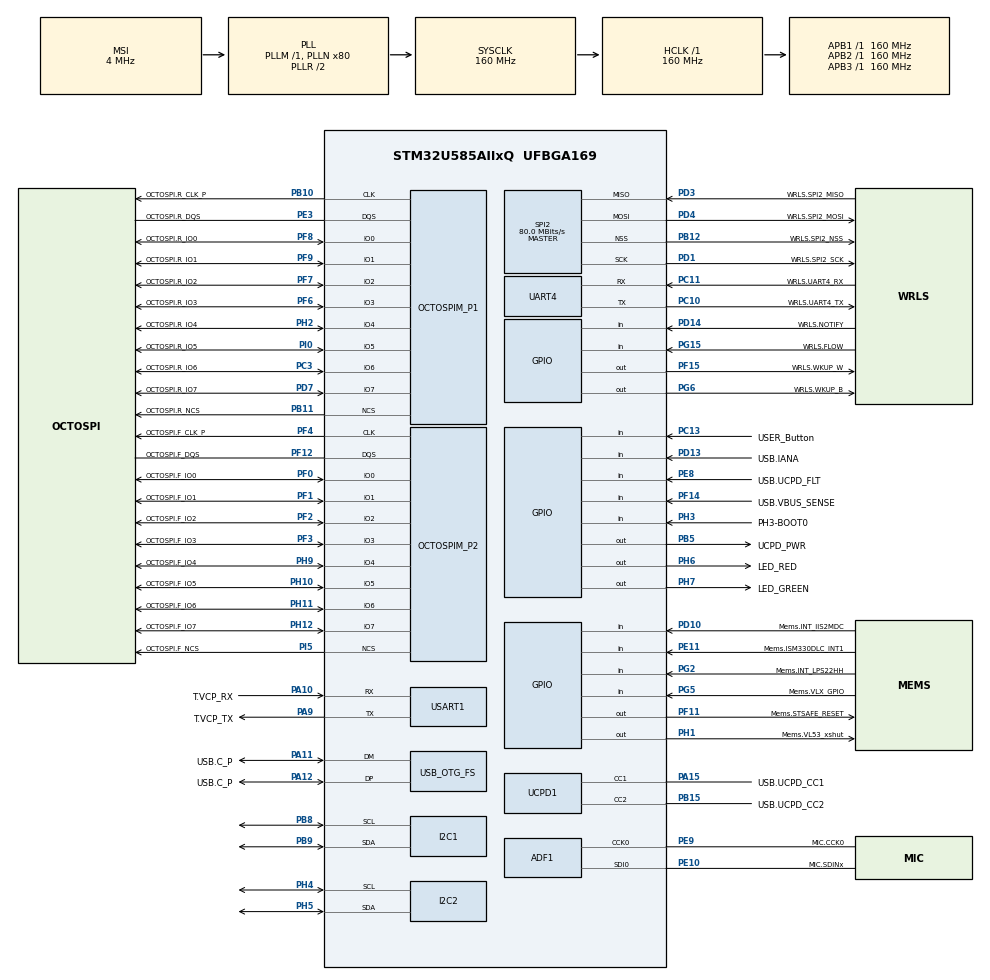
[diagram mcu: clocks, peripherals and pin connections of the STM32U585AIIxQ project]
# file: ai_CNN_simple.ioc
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CORTEX_M33_NS.userName=CORTEX_M33
I2C1.Timing=0x30909DEC
I2C2.Timing=0x30909DEC
Mcu.Family=STM32U5
Mcu.Name=STM32U585AIIxQ
Mcu.Package=UFBGA169
NVIC.PriorityGroup=NVIC_PRIORITYGROUP_4
OCTOSPI1.ChipSelectBoundary=10
OCTOSPI1.ClockPrescaler=2
OCTOSPI1.DelayBlockBypass=HAL_OSPI_DELAY_BLOCK_USED
OCTOSPI1.DelayHoldQuarterCycle=HAL_OSPI_DHQC_ENABLE
OCTOSPI1.DeviceSize=23
OCTOSPI1.MemoryType=HAL_OSPI_MEMTYPE_APMEMORY
OCTOSPI1.Refresh=100
OCTOSPI2.ChipSelectBoundary=0
OCTOSPI2.ChipSelectHighTime=2
OCTOSPI2.ClockPrescaler=4
OCTOSPI2.DelayBlockBypass=HAL_OSPI_DELAY_BLOCK_USED
OCTOSPI2.DelayHoldQuarterCycle=HAL_OSPI_DHQC_ENABLE
OCTOSPI2.DeviceSize=26
OCTOSPI2.FifoThreshold=4
OCTOSPI2.MemoryType=HAL_OSPI_MEMTYPE_MACRONIX
PA10.GPIO_Label=T.VCP_RX
PA10.Mode=Asynchronous
PA10.Signal=USART1_RX
PA11.GPIO_Label=USB.C_P
PA11.Mode=Device_Only
PA11.Signal=USB_OTG_FS_DM
PA12.GPIO_Label=USB.C_P
PA12.Mode=Device_Only
PA12.Signal=USB_OTG_FS_DP
PA13\ (JTMS/SWDIO).GPIO_Label=T.SWDIO
PA13\ (JTMS/SWDIO).Mode=Trace_Asynchronous_SW
PA13\ (JTMS/SWDIO).Signal=DEBUG_JTMS-SWDIO
PA14\ (JTCK/SWCLK).GPIO_Label=T.SWCLK
PA14\ (JTCK/SWCLK).Mode=Trace_Asynchronous_SW
PA14\ (JTCK/SWCLK).Signal=DEBUG_JTCK-SWCLK
PA15\ (JTDI).GPIO_Label=USB.UCPD_CC1
PA15\ (JTDI).Mode=Dual_Role_AllSignals
PA15\ (JTDI).Signal=UCPD1_CC1
PA9.GPIO_Label=T.VCP_TX
PA9.Mode=Asynchronous
PA9.Signal=USART1_TX
PB1.GPIO_Label=MIC.SDIN0
PB1.Signal=MDF1_SDI0
PB10.GPIO_Label=OCTOSPI.R_CLK_P
PB10.Mode=O1_P1_CLK
PB10.Signal=OCTOSPIM_P1_CLK
PB11.GPIO_Label=OCTOSPI.R_NCS
PB11.Mode=OCTOSPI1_Port1_NCS
PB11.Signal=OCTOSPIM_P1_NCS
PB12.GPIO_Label=WRLS.SPI2_NSS
PB12.Mode=NSS_Signal_Hard_Output
PB12.Signal=SPI2_NSS
PB15.GPIO_Label=USB.UCPD_CC2
PB15.Mode=Dual_Role_AllSignals
PB15.Signal=UCPD1_CC2
PB3\ (JTDO/TRACESWO).GPIO_Label=T.SWO
PB3\ (JTDO/TRACESWO).Mode=Trace_Asynchronous_SW
PB3\ (JTDO/TRACESWO).Signal=DEBUG_JTDO-SWO
PB5.GPIO_Label=UCPD_PWR
PB5.Signal=GPIO_Output
PB8.Mode=I2C
PB8.Signal=I2C1_SCL
PB9.Mode=I2C
PB9.Signal=I2C1_SDA
PC10.GPIO_Label=WRLS.UART4_TX
PC10.Mode=Asynchronous
PC10.Signal=UART4_TX
PC11.GPIO_Label=WRLS.UART4_RX
PC11.Mode=Asynchronous
PC11.Signal=UART4_RX
PC13.GPIO_Label=USER_Button
PC13.Signal=GPIO_Input
PC14-OSC32_IN\ (PC14).GPIO_Label=PC14-OSC32_IN
PC14-OSC32_IN\ (PC14).Mode=LSE-External-Oscillator
PC14-OSC32_IN\ (PC14).Signal=RCC_OSC32_IN
PC15-OSC32_OUT\ (PC15).GPIO_Label=PC15-OSC32_OUT
PC15-OSC32_OUT\ (PC15).Mode=LSE-External-Oscillator
PC15-OSC32_OUT\ (PC15).Signal=RCC_OSC32_OUT
PC3.GPIO_Label=OCTOSPI.R_IO6
PC3.Mode=OCTOSPI1_IOH_Port1H
PC3.Signal=OCTOSPIM_P1_IO6
PD1.GPIO_Label=WRLS.SPI2_SCK
PD1.Mode=Full_Duplex_Master
PD1.Signal=SPI2_SCK
PD10.GPIO_Label=Mems.INT_IIS2MDC
PD10.Signal=GPIO_Input
PD13.GPIO_Label=USB.IANA
PD13.Signal=GPIO_Input
PD14.GPIO_Label=WRLS.NOTIFY
PD14.Signal=GPIO_Input
PD3.GPIO_Label=WRLS.SPI2_MISO
PD3.Mode=Full_Duplex_Master
PD3.Signal=SPI2_MISO
PD4.GPIO_Label=WRLS.SPI2_MOSI
PD4.Mode=Full_Duplex_Master
PD4.Signal=SPI2_MOSI
PD7.GPIO_Label=OCTOSPI.R_IO7
PD7.Mode=OCTOSPI1_IOH_Port1H
PD7.Signal=OCTOSPIM_P1_IO7
PE10.GPIO_Label=MIC.SDINx
PE10.Mode=MOD_ADF_CCK
PE10.Signal=ADF1_SDI0
PE11.GPIO_Label=Mems.ISM330DLC_INT1
PE11.Signal=GPIO_Input
PE3.GPIO_Label=OCTOSPI.R_DQS
PE3.Mode=OCTOSPI1_Port1_DQS
PE3.Signal=OCTOSPIM_P1_DQS
PE8.GPIO_Label=USB.UCPD_FLT
PE8.Signal=GPIO_Input
PE9.GPIO_Label=MIC.CCK0
PE9.Mode=MOD_MDF_CCK0
PE9.Signal=ADF1_CCK0
PF0.GPIO_Label=OCTOSPI.F_IO0
PF0.Mode=OCTOSPI2_IOL_Port2L
PF0.Signal=OCTOSPIM_P2_IO0
PF1.GPIO_Label=OCTOSPI.F_IO1
PF1.Mode=OCTOSPI2_IOL_Port2L
PF1.Signal=OCTOSPIM_P2_IO1
PF10.GPIO_Label=MIC.CCK1
PF10.Signal=MDF1_CCK1
PF11.GPIO_Label=Mems.STSAFE_RESET
PF11.Signal=GPIO_Output
PF12.GPIO_Label=OCTOSPI.F_DQS
PF12.Mode=OCTOSPI2_Port2_DQS
PF12.Signal=OCTOSPIM_P2_DQS
PF14.GPIO_Label=USB.VBUS_SENSE
PF14.Signal=GPIO_Input
PF15.GPIO_Label=WRLS.WKUP_W
PF15.Signal=GPIO_Output
PF2.GPIO_Label=OCTOSPI.F_IO2
PF2.Mode=OCTOSPI2_IOL_Port2L
PF2.Signal=OCTOSPIM_P2_IO2
PF3.GPIO_Label=OCTOSPI.F_IO3
PF3.Mode=OCTOSPI2_IOL_Port2L
PF3.Signal=OCTOSPIM_P2_IO3
PF4.GPIO_Label=OCTOSPI.F_CLK_P
PF4.Mode=O2_P2_CLK
PF4.Signal=OCTOSPIM_P2_CLK
PF6.GPIO_Label=OCTOSPI.R_IO3
PF6.Mode=OCTOSPI1_IOL_Port1L
PF6.Signal=OCTOSPIM_P1_IO3
PF7.GPIO_Label=OCTOSPI.R_IO2
PF7.Mode=OCTOSPI1_IOL_Port1L
PF7.Signal=OCTOSPIM_P1_IO2
PF8.GPIO_Label=OCTOSPI.R_IO0
PF8.Mode=OCTOSPI1_IOL_Port1L
PF8.Signal=OCTOSPIM_P1_IO0
PF9.GPIO_Label=OCTOSPI.R_IO1
PF9.Mode=OCTOSPI1_IOL_Port1L
PF9.Signal=OCTOSPIM_P1_IO1
PG15.GPIO_Label=WRLS.FLOW
PG15.Signal=GPIO_Input
PG2.GPIO_Label=Mems.INT_LPS22HH
PG2.Signal=GPIO_Input
PG5.GPIO_Label=Mems.VLX_GPIO
PG5.Signal=GPIO_Input
PG6.GPIO_Label=WRLS.WKUP_B
PG6.Signal=GPIO_Output
PH1-OSC_OUT\ (PH1).GPIO_Label=Mems.VL53_xshut
PH1-OSC_OUT\ (PH1).Signal=GPIO_Output
PH10.GPIO_Label=OCTOSPI.F_IO5
PH10.Mode=OCTOSPI2_IOH_Port2H
PH10.Signal=OCTOSPIM_P2_IO5
PH11.GPIO_Label=OCTOSPI.F_IO6
PH11.Mode=OCTOSPI2_IOH_Port2H
PH11.Signal=OCTOSPIM_P2_IO6
PH12.GPIO_Label=OCTOSPI.F_IO7
PH12.Mode=OCTOSPI2_IOH_Port2H
PH12.Signal=OCTOSPIM_P2_IO7
PH2.GPIO_Label=OCTOSPI.R_IO4
PH2.Mode=OCTOSPI1_IOH_Port1H
PH2.Signal=OCTOSPIM_P1_IO4
PH3-BOOT0.GPIO_Label=PH3-BOOT0
PH3-BOOT0.Signal=GPIO_Input
PH4.Mode=I2C
PH4.Signal=I2C2_SCL
PH5.Mode=I2C
PH5.Signal=I2C2_SDA
PH6.GPIO_Label=LED_RED
PH6.Signal=GPIO_Output
PH7.GPIO_Label=LED_GREEN
PH7.Signal=GPIO_Output
PH9.GPIO_Label=OCTOSPI.F_IO4
PH9.Mode=OCTOSPI2_IOH_Port2H
PH9.Signal=OCTOSPIM_P2_IO4
PI0.GPIO_Label=OCTOSPI.R_IO5
PI0.Mode=OCTOSPI1_IOH_Port1H
PI0.Signal=OCTOSPIM_P1_IO5
PI5.GPIO_Label=OCTOSPI.F_NCS
PI5.Mode=OCTOSPI2_Port2_NCS
PI5.Signal=OCTOSPIM_P2_NCS
PWR.PowerMode=PWR_SMPS_SUPPLY
ProjectManager.HeapSize=0x800
ProjectManager.StackSize=0x800
ProjectManager.TargetToolchain=STM32CubeIDE
RCC.ADCFreq_Value=16000000
RCC.AHBFreq_Value=160000000
RCC.APB1Freq_Value=160000000
RCC.APB1TimFreq_Value=160000000
RCC.APB2Freq_Value=160000000
RCC.APB2TimFreq_Value=160000000
RCC.APB3Freq_Value=160000000
RCC.CortexFreq_Value=160000000
RCC.DACCLockSelectionVirtual=RCC_DAC1CLKSOURCE_LSI
RCC.EPOD_VALUE=4000000
RCC.HCLKFreq_Value=160000000
RCC.HSE_VALUE=16000000
RCC.HSI48_VALUE=48000000
RCC.HSI_VALUE=16000000
RCC.LSIDIV_VALUE=32000
RCC.MSI_VALUE=4000000
RCC.PLLN=80
RCC.SYSCLKFreq_VALUE=160000000
RCC.SYSCLKSource=RCC_SYSCLKSOURCE_PLLCLK
RCC.USBFreq_Value=48000000
RCC.VCOOutputFreq_Value=320000000
SPI2.CalculateBaudRate=80.0 MBits/s
SPI2.Direction=SPI_DIRECTION_2LINES
SPI2.Mode=SPI_MODE_MASTER
SPI2.VirtualNSS=VM_NSSHARD
SPI2.VirtualType=VM_MASTER
STMicroelectronics.X-CUBE-AI.10.2.0.ActivationBufferSizeList=12980
STMicroelectronics.X-CUBE-AI.10.2.0.ActivationBuffers=pool0
STMicroelectronics.X-CUBE-AI.10.2.0.ActivationNames=pool0
STMicroelectronics.X-CUBE-AI.10.2.0.ActivationSizes=AI_NETWORK_DATA_ACTIVATION_1_SIZE
STMicroelectronics.X-CUBE-AI.10.2.0.ApplicationCcDeviceJjApplication=ApplicationTemplate
STMicroelectronics.X-CUBE-AI.10.2.0.HeapSize=0x800
STMicroelectronics.X-CUBE-AI.10.2.0.InternalRamActivationBufferMaxSize=AI_NETWORK_DATA_ACTIVATIONS_SIZE
STMicroelectronics.X-CUBE-AI.10.2.0.LatestDirectoryUsed-985543f7b502cd5a12b65d10398bc5f9ac646c70366ce75dbe2e83b1e7f2009e=C\:\\Users\\HP\\OneDrive\\Dokument\\Universitet\\Exam work\\i2c_ui_commands
STMicroelectronics.X-CUBE-AI.10.2.0.MaximumNumberOfInputLayer=1
STMicroelectronics.X-CUBE-AI.10.2.0.MaximumNumberOfOutputLayer=1
STMicroelectronics.X-CUBE-AI.10.2.0.MaximumSizeOfInputLayer=1
STMicroelectronics.X-CUBE-AI.10.2.0.MaximumSizeOfOutputLayer=1
STMicroelectronics.X-CUBE-AI.10.2.0.ModelActualCompression-985543f7b502cd5a12b65d10398bc5f9ac646c70366ce75dbe2e83b1e7f2009e=0.0
STMicroelectronics.X-CUBE-AI.10.2.0.ModelCompression-985543f7b502cd5a12b65d10398bc5f9ac646c70366ce75dbe2e83b1e7f2009e=None
STMicroelectronics.X-CUBE-AI.10.2.0.ModelFlashOccupation-985543f7b502cd5a12b65d10398bc5f9ac646c70366ce75dbe2e83b1e7f2009e=72656
STMicroelectronics.X-CUBE-AI.10.2.0.ModelHashList=985543f7b502cd5a12b65d10398bc5f9ac646c70366ce75dbe2e83b1e7f2009e
STMicroelectronics.X-CUBE-AI.10.2.0.ModelKind-985543f7b502cd5a12b65d10398bc5f9ac646c70366ce75dbe2e83b1e7f2009e=KERAS
STMicroelectronics.X-CUBE-AI.10.2.0.ModelMacc-985543f7b502cd5a12b65d10398bc5f9ac646c70366ce75dbe2e83b1e7f2009e=408032
STMicroelectronics.X-CUBE-AI.10.2.0.ModelName-985543f7b502cd5a12b65d10398bc5f9ac646c70366ce75dbe2e83b1e7f2009e=network
STMicroelectronics.X-CUBE-AI.10.2.0.ModelNameList=network
STMicroelectronics.X-CUBE-AI.10.2.0.ModelRamOccupation-985543f7b502cd5a12b65d10398bc5f9ac646c70366ce75dbe2e83b1e7f2009e=12980
STMicroelectronics.X-CUBE-AI.10.2.0.ModelStructureFile-985543f7b502cd5a12b65d10398bc5f9ac646c70366ce75dbe2e83b1e7f2009e=/C\:/Users/HP/OneDrive/Dokument/Universitet/Exam work/i2c_ui_commands/cnn_model.h5
STMicroelectronics.X-CUBE-AI.10.2.0.ModelType-985543f7b502cd5a12b65d10398bc5f9ac646c70366ce75dbe2e83b1e7f2009e=STM32Cube.AI MCU runtime
STMicroelectronics.X-CUBE-AI.10.2.0.ReadyForCodeGeneration=true
STMicroelectronics.X-CUBE-AI.10.2.0.StackSize=0x800
STMicroelectronics.X-CUBE-AI.10.2.0.WorkingBufferStartAddrList=0xFFFFFFFF
STMicroelectronics.X-CUBE-AI.10.2.0.XAaCUBEAaAICcArtificialOoIntelligenceJjCore=true
STMicroelectronics.X-CUBE-AI.10.2.0.copyWeightToRam-985543f7b502cd5a12b65d10398bc5f9ac646c70366ce75dbe2e83b1e7f2009e=false
STMicroelectronics.X-CUBE-AI.10.2.0.customLayerConfigEnabled-985543f7b502cd5a12b65d10398bc5f9ac646c70366ce75dbe2e83b1e7f2009e=false
STMicroelectronics.X-CUBE-AI.10.2.0.noOnnxIoTranspose-985543f7b502cd5a12b65d10398bc5f9ac646c70366ce75dbe2e83b1e7f2009e=false
STMicroelectronics.X-CUBE-AI.10.2.0.useInputAllocation-985543f7b502cd5a12b65d10398bc5f9ac646c70366ce75dbe2e83b1e7f2009e=true
STMicroelectronics.X-CUBE-AI.10.2.0.useOutputAllocation-985543f7b502cd5a12b65d10398bc5f9ac646c70366ce75dbe2e83b1e7f2009e=true
USART1.VirtualMode-Asynchronous=VM_ASYNC
USB_OTG_FS.VirtualMode=Device_Only
VP_ICACHE_VS_ICACHE.Mode=DirectMappedCache
VP_LPBAMQUEUE_VS_QUEUE.Mode=QUEUEMODE
VP_LPBAM_VS_SIG1.Mode=SmartRun
VP_LPBAM_VS_SIG4.Mode=LPDMA1
VP_MEMORYMAP_VS_MEMORYMAP.Mode=CurAppReg
VP_OCTOSPI1_VS_octo.Mode=octo_mode
VP_OCTOSPI2_VS_octo.Mode=octo_mode
VP_PWR_VS_DBSignals.Mode=DisableDeadBatterySignals
VP_PWR_VS_LPOM.Mode=PowerOptimisation
VP_PWR_VS_SECSignals.Mode=Security/Privilege
VP_STMicroelectronics.X-CUBE-AI_VS_ArtificialOoIntelligenceJjXAaCUBEAaAI_10.2.0.Mode=ArtificialOoIntelligenceJjXAaCUBEAaAI
VP_STMicroelectronics.X-CUBE-AI_VS_DeviceJjApplication_10.2.0.Mode=DeviceJjApplication
board=B-U585I-IOT02A

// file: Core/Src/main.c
/* USER CODE BEGIN Header */
/**
  ******************************************************************************
  * @file           : main.c
  * @brief          : Main program body
  ******************************************************************************
  * @attention
  *
  * Copyright (c) 2026 STMicroelectronics.
  * All rights reserved.
  *
  * This software is licensed under terms that can be found in the LICENSE file
  * in the root directory of this software component.
  * If no LICENSE file comes with this software, it is provided AS-IS.
  *
  ******************************************************************************
  */
/* USER CODE END Header */
#include "main.h"
#include "app_x-cube-ai.h"

/* USER CODE BEGIN Includes */
#include <stdio.h>
#include "network.h"
#include <string.h>
#include <math.h>
#include "ism330dhcx_reg.h"
#include "stm32u5xx_hal.h"
#include "ism330dhcx.h"

/* USER CODE END Includes */

/* USER CODE BEGIN PD */
#define CNN_TIMESTEPS 128
#define CNN_CHANNELS 3
#define ISM330DHCX_ADDR  (0x6B << 1)
#define SMOOTH_N 5
#define RX_BUF_SIZE 64 //UART receive buffer size
//#define WINDOW_SIZE 1665
//#define N_FEATURES 15

/* USER CODE END PD */

MDF_HandleTypeDef AdfHandle0;
MDF_FilterConfigTypeDef AdfFilterConfig0;

I2C_HandleTypeDef hi2c1;
I2C_HandleTypeDef hi2c2;

OSPI_HandleTypeDef hospi1;
OSPI_HandleTypeDef hospi2;

SPI_HandleTypeDef hspi2;

UART_HandleTypeDef huart4;
UART_HandleTypeDef huart1;

PCD_HandleTypeDef hpcd_USB_OTG_FS;

/* USER CODE BEGIN PV */
float cnn_input[CNN_TIMESTEPS * CNN_CHANNELS];
static uint32_t sample_idx = 0;
static stmdev_ctx_t dev_ctx;
uint8_t whoamI;
int16_t data_raw_acceleration[3]; // Buffert för rådata
static int pred_hist[SMOOTH_N];
static int pred_idx = 0;
static volatile uint8_t logging_enabled = 0;  //Set when receiving start command
char current_label[16] = "None";
static uint8_t uart_rx_char;
static char uart_rx_buf[RX_BUF_SIZE]; //UART receive buffer
static uint8_t uart_rx_idx = 0;
uint64_t inference_sample_index = 0;
//uint8_t ai_output_enabled = 0;
//volatile uint8_t uart_tx_busy = 0;

static int16_t ax_raw_buf[CNN_TIMESTEPS];
static int16_t ay_raw_buf[CNN_TIMESTEPS];
static int16_t az_raw_buf[CNN_TIMESTEPS];

// Buffertar för bearbetad data
static float ax_mg_buf[CNN_TIMESTEPS];
static float ay_mg_buf[CNN_TIMESTEPS];
static float az_mg_buf[CNN_TIMESTEPS];

static const float CNN_MEAN[3] = {
    -2.44990415f,
     91.76711708f,
    122.58716034f
};

static const float CNN_STD[3] = {
    501.37406886f,
    576.27058f,
    621.73241384f
};

/* USER CODE END PV */

void SystemClock_Config(void);
static void SystemPower_Config(void);
static void MX_GPIO_Init(void);
static void MX_ADF1_Init(void);
static void MX_I2C1_Init(void);
static void MX_I2C2_Init(void);
static void MX_ICACHE_Init(void);
static void MX_OCTOSPI1_Init(void);
static void MX_OCTOSPI2_Init(void);
static void MX_SPI2_Init(void);
static void MX_UART4_Init(void);
static void MX_USART1_UART_Init(void);
static void MX_UCPD1_Init(void);
static void MX_USB_OTG_FS_PCD_Init(void);
/* USER CODE BEGIN PFP */
void convert_to_mg(void);
static int32_t platform_write(void *handle, uint8_t reg,uint8_t *buf, uint16_t len);
static int32_t platform_read(void *handle, uint8_t reg, uint8_t *bufp, uint16_t len);
int smooth_prediction(int pred);
void HandleUartCommand(const char *cmd);
static void ResetInferenceState(void);

/* USER CODE END PFP */

/* USER CODE BEGIN 0 */
int __io_putchar(int ch)
{
    //uart_tx_busy = 1;
    HAL_UART_Transmit(&huart1, (uint8_t *)&ch, 1, HAL_MAX_DELAY);
    //uart_tx_busy = 0;
    return ch;
}
/* USER CODE END 0 */

int main(void)
{

  /* MCU Configuration--------------------------------------------------------*/

  /* Reset of all peripherals, Initializes the Flash interface and the Systick. */
  HAL_Init();

  /* Configure the System Power */
  SystemPower_Config();

  /* Configure the system clock */
  SystemClock_Config();

  /* Initialize all configured peripherals */
  MX_GPIO_Init();
  MX_ADF1_Init();
  MX_I2C1_Init();
  MX_I2C2_Init();
  MX_ICACHE_Init();
  MX_OCTOSPI1_Init();
  MX_OCTOSPI2_Init();
  MX_SPI2_Init();
  MX_UART4_Init();
  MX_USART1_UART_Init();
  MX_UCPD1_Init();
  MX_USB_OTG_FS_PCD_Init();

  /* USER CODE BEGIN 2 */
  dev_ctx.write_reg = platform_write;
  dev_ctx.read_reg = platform_read;
  dev_ctx.handle = &hi2c2;

  //Enable UART receive commands (START & STOP from UI)
  HAL_UART_Receive_IT(&huart1, &uart_rx_char, 1);

  HAL_Delay(20);

  CoreDebug->DEMCR |= CoreDebug_DEMCR_TRCENA_Msk;
  DWT->CYCCNT = 0;
  DWT->CTRL |= DWT_CTRL_CYCCNTENA_Msk;

  ism330dhcx_device_id_get(&dev_ctx, &whoamI);
  printf("WHOAMI = 0x%02X\r\n", whoamI);

  if (whoamI != ISM330DHCX_ID)
  {
      Error_Handler();
  }

   ism330dhcx_block_data_update_set(&dev_ctx, PROPERTY_ENABLE);
   ism330dhcx_xl_data_rate_set(&dev_ctx, ISM330DHCX_XL_ODR_3332Hz);
   ism330dhcx_xl_full_scale_set(&dev_ctx, ISM330DHCX_4g);
  /* USER CODE END 2 */
   MX_X_CUBE_AI_Init();
  /* Infinite loop */
  /* USER CODE BEGIN WHILE */
   while (1)
   {
       int16_t data_raw_acceleration[3];

       if (logging_enabled)
       {
           if (ism330dhcx_acceleration_raw_get(&dev_ctx, data_raw_acceleration) == 0)
           {
               if (sample_idx >= CNN_TIMESTEPS) {
                   sample_idx = 0;
               }

               ax_raw_buf[sample_idx] = data_raw_acceleration[0];
               ay_raw_buf[sample_idx] = data_raw_acceleration[1];
               az_raw_buf[sample_idx] = data_raw_acceleration[2];
               sample_idx++;

               if (sample_idx >= CNN_TIMESTEPS)
               {
                   convert_to_mg();

                   for (int i = 0; i < CNN_TIMESTEPS; i++) {
                       cnn_input[i*3 + 0] = (ax_mg_buf[i] - CNN_MEAN[0]) / CNN_STD[0];
                       cnn_input[i*3 + 1] = (ay_mg_buf[i] - CNN_MEAN[1]) / CNN_STD[1];
                       cnn_input[i*3 + 2] = (az_mg_buf[i] - CNN_MEAN[2]) / CNN_STD[2];
                   }

                   uint32_t start_cycles = DWT->CYCCNT;
                   MX_X_CUBE_AI_Process();
                   uint32_t end_cycles = DWT->CYCCNT;

                   latency_ms = (float)(end_cycles - start_cycles)
                                / 80000000.0f * 1000.0f;

 	              inference_sample_index += (CNN_TIMESTEPS / 2);

                   static uint32_t inf_count = 0;
                   static uint32_t t0 = 0;
                   if (t0 == 0) t0 = HAL_GetTick();
                   inf_count++;

                   if ((HAL_GetTick() - t0) >= 1000) {
                       printf("Throughput: %lu inf/s\r\n", inf_count);
                       inf_count = 0;
                       t0 = HAL_GetTick();
                   }

                   const int stride = CNN_TIMESTEPS / 2;

                   memmove(ax_raw_buf, &ax_raw_buf[stride],
                           (CNN_TIMESTEPS - stride) * sizeof(int16_t));
                   memmove(ay_raw_buf, &ay_raw_buf[stride],
                           (CNN_TIMESTEPS - stride) * sizeof(int16_t));
                   memmove(az_raw_buf, &az_raw_buf[stride],
                           (CNN_TIMESTEPS - stride) * sizeof(int16_t));

                   sample_idx = CNN_TIMESTEPS - stride;
               }
           }
       }
   }
}

void SystemClock_Config(void)
{
  RCC_OscInitTypeDef RCC_OscInitStruct = {0};
  RCC_ClkInitTypeDef RCC_ClkInitStruct = {0};

  /** Configure the main internal regulator output voltage
  */
  if (HAL_PWREx_ControlVoltageScaling(PWR_REGULATOR_VOLTAGE_SCALE1) != HAL_OK)
  {
    Error_Handler();
  }

  /** Initializes the CPU, AHB and APB buses clocks
  */
  RCC_OscInitStruct.OscillatorType = RCC_OSCILLATORTYPE_HSI48|RCC_OSCILLATORTYPE_HSI
                              |RCC_OSCILLATORTYPE_MSI;
  RCC_OscInitStruct.HSIState = RCC_HSI_ON;
  RCC_OscInitStruct.HSI48State = RCC_HSI48_ON;
  RCC_OscInitStruct.HSICalibrationValue = RCC_HSICALIBRATION_DEFAULT;
  RCC_OscInitStruct.MSIState = RCC_MSI_ON;
  RCC_OscInitStruct.MSICalibrationValue = RCC_MSICALIBRATION_DEFAULT;
  RCC_OscInitStruct.MSIClockRange = RCC_MSIRANGE_4;
  RCC_OscInitStruct.PLL.PLLState = RCC_PLL_ON;
  RCC_OscInitStruct.PLL.PLLSource = RCC_PLLSOURCE_MSI;
  RCC_OscInitStruct.PLL.PLLMBOOST = RCC_PLLMBOOST_DIV1;
  RCC_OscInitStruct.PLL.PLLM = 1;
  RCC_OscInitStruct.PLL.PLLN = 80;
  RCC_OscInitStruct.PLL.PLLP = 2;
  RCC_OscInitStruct.PLL.PLLQ = 2;
  RCC_OscInitStruct.PLL.PLLR = 2;
  RCC_OscInitStruct.PLL.PLLRGE = RCC_PLLVCIRANGE_0;
  RCC_OscInitStruct.PLL.PLLFRACN = 0;
  if (HAL_RCC_OscConfig(&RCC_OscInitStruct) != HAL_OK)
  {
    Error_Handler();
  }

  /** Initializes the CPU, AHB and APB buses clocks
  */
  RCC_ClkInitStruct.ClockType = RCC_CLOCKTYPE_HCLK|RCC_CLOCKTYPE_SYSCLK
                              |RCC_CLOCKTYPE_PCLK1|RCC_CLOCKTYPE_PCLK2
                              |RCC_CLOCKTYPE_PCLK3;
  RCC_ClkInitStruct.SYSCLKSource = RCC_SYSCLKSOURCE_PLLCLK;
  RCC_ClkInitStruct.AHBCLKDivider = RCC_SYSCLK_DIV1;
  RCC_ClkInitStruct.APB1CLKDivider = RCC_HCLK_DIV1;
  RCC_ClkInitStruct.APB2CLKDivider = RCC_HCLK_DIV1;
  RCC_ClkInitStruct.APB3CLKDivider = RCC_HCLK_DIV1;

  if (HAL_RCC_ClockConfig(&RCC_ClkInitStruct, FLASH_LATENCY_4) != HAL_OK)
  {
    Error_Handler();
  }
}

/**
  * @brief Power Configuration
  * @retval None
  */
static void SystemPower_Config(void)
{
  HAL_PWREx_EnableVddIO2();

  /*
   * Switch to SMPS regulator instead of LDO
   */
  if (HAL_PWREx_ConfigSupply(PWR_SMPS_SUPPLY) != HAL_OK)
  {
    Error_Handler();
  }
}

static void MX_ADF1_Init(void)
{

  /**
    AdfHandle0 structure initialization and HAL_MDF_Init function call
  */
  AdfHandle0.Instance = ADF1_Filter0;
  AdfHandle0.Init.CommonParam.ProcClockDivider = 1;
  AdfHandle0.Init.CommonParam.OutputClock.Activation = DISABLE;
  AdfHandle0.Init.SerialInterface.Activation = ENABLE;
  AdfHandle0.Init.SerialInterface.Mode = MDF_SITF_LF_MASTER_SPI_MODE;
  AdfHandle0.Init.SerialInterface.ClockSource = MDF_SITF_CCK0_SOURCE;
  AdfHandle0.Init.SerialInterface.Threshold = 4;
  AdfHandle0.Init.FilterBistream = MDF_BITSTREAM0_FALLING;
  if (HAL_MDF_Init(&AdfHandle0) != HAL_OK)
  {
    Error_Handler();
  }

  /**
    AdfFilterConfig0 structure initialization

    WARNING : only structure is filled, no specific init function call for filter
  */
  AdfFilterConfig0.DataSource = MDF_DATA_SOURCE_BSMX;
  AdfFilterConfig0.Delay = 0;
  AdfFilterConfig0.CicMode = MDF_ONE_FILTER_SINC4;
  AdfFilterConfig0.DecimationRatio = 2;
  AdfFilterConfig0.Gain = 0;
  AdfFilterConfig0.ReshapeFilter.Activation = DISABLE;
  AdfFilterConfig0.HighPassFilter.Activation = DISABLE;
  AdfFilterConfig0.SoundActivity.Activation = DISABLE;
  AdfFilterConfig0.AcquisitionMode = MDF_MODE_ASYNC_CONT;
  AdfFilterConfig0.FifoThreshold = MDF_FIFO_THRESHOLD_NOT_EMPTY;
  AdfFilterConfig0.DiscardSamples = 0;

}

static void MX_I2C1_Init(void)
{

  hi2c1.Instance = I2C1;
  hi2c1.Init.Timing = 0x30909DEC;
  hi2c1.Init.OwnAddress1 = 0;
  hi2c1.Init.AddressingMode = I2C_ADDRESSINGMODE_7BIT;
  hi2c1.Init.DualAddressMode = I2C_DUALADDRESS_DISABLE;
  hi2c1.Init.OwnAddress2 = 0;
  hi2c1.Init.OwnAddress2Masks = I2C_OA2_NOMASK;
  hi2c1.Init.GeneralCallMode = I2C_GENERALCALL_DISABLE;
  hi2c1.Init.NoStretchMode = I2C_NOSTRETCH_DISABLE;
  if (HAL_I2C_Init(&hi2c1) != HAL_OK)
  {
    Error_Handler();
  }

  /** Configure Analogue filter
  */
  if (HAL_I2CEx_ConfigAnalogFilter(&hi2c1, I2C_ANALOGFILTER_ENABLE) != HAL_OK)
  {
    Error_Handler();
  }

  /** Configure Digital filter
  */
  if (HAL_I2CEx_ConfigDigitalFilter(&hi2c1, 0) != HAL_OK)
  {
    Error_Handler();
  }

}

static void MX_I2C2_Init(void)
{

  hi2c2.Instance = I2C2;
  hi2c2.Init.Timing = 0x30909DEC;
  hi2c2.Init.OwnAddress1 = 0;
  hi2c2.Init.AddressingMode = I2C_ADDRESSINGMODE_7BIT;
  hi2c2.Init.DualAddressMode = I2C_DUALADDRESS_DISABLE;
  hi2c2.Init.OwnAddress2 = 0;
  hi2c2.Init.OwnAddress2Masks = I2C_OA2_NOMASK;
  hi2c2.Init.GeneralCallMode = I2C_GENERALCALL_DISABLE;
  hi2c2.Init.NoStretchMode = I2C_NOSTRETCH_DISABLE;
  if (HAL_I2C_Init(&hi2c2) != HAL_OK)
  {
    Error_Handler();
  }

  /** Configure Analogue filter
  */
  if (HAL_I2CEx_ConfigAnalogFilter(&hi2c2, I2C_ANALOGFILTER_ENABLE) != HAL_OK)
  {
    Error_Handler();
  }

  /** Configure Digital filter
  */
  if (HAL_I2CEx_ConfigDigitalFilter(&hi2c2, 0) != HAL_OK)
  {
    Error_Handler();
  }

}

static void MX_ICACHE_Init(void)
{

  /** Enable instruction cache in 1-way (direct mapped cache)
  */
  if (HAL_ICACHE_ConfigAssociativityMode(ICACHE_1WAY) != HAL_OK)
  {
    Error_Handler();
  }
  if (HAL_ICACHE_Enable() != HAL_OK)
  {
    Error_Handler();
  }

}

static void MX_OCTOSPI1_Init(void)
{

  OSPIM_CfgTypeDef sOspiManagerCfg = {0};
  HAL_OSPI_DLYB_CfgTypeDef HAL_OSPI_DLYB_Cfg_Struct = {0};

  /* OCTOSPI1 parameter configuration*/
  hospi1.Instance = OCTOSPI1;
  hospi1.Init.FifoThreshold = 1;
  hospi1.Init.DualQuad = HAL_OSPI_DUALQUAD_DISABLE;
  hospi1.Init.MemoryType = HAL_OSPI_MEMTYPE_APMEMORY;
  hospi1.Init.DeviceSize = 23;
  hospi1.Init.ChipSelectHighTime = 1;
  hospi1.Init.FreeRunningClock = HAL_OSPI_FREERUNCLK_DISABLE;
  hospi1.Init.ClockMode = HAL_OSPI_CLOCK_MODE_0;
  hospi1.Init.WrapSize = HAL_OSPI_WRAP_NOT_SUPPORTED;
  hospi1.Init.ClockPrescaler = 2;
  hospi1.Init.SampleShifting = HAL_OSPI_SAMPLE_SHIFTING_NONE;
  hospi1.Init.DelayHoldQuarterCycle = HAL_OSPI_DHQC_ENABLE;
  hospi1.Init.ChipSelectBoundary = 10;
  hospi1.Init.DelayBlockBypass = HAL_OSPI_DELAY_BLOCK_USED;
  hospi1.Init.MaxTran = 0;
  hospi1.Init.Refresh = 100;
  if (HAL_OSPI_Init(&hospi1) != HAL_OK)
  {
    Error_Handler();
  }
  sOspiManagerCfg.ClkPort = 1;
  sOspiManagerCfg.DQSPort = 1;
  sOspiManagerCfg.NCSPort = 1;
  sOspiManagerCfg.IOLowPort = HAL_OSPIM_IOPORT_1_LOW;
  sOspiManagerCfg.IOHighPort = HAL_OSPIM_IOPORT_1_HIGH;
  if (HAL_OSPIM_Config(&hospi1, &sOspiManagerCfg, HAL_OSPI_TIMEOUT_DEFAULT_VALUE) != HAL_OK)
  {
    Error_Handler();
  }
  HAL_OSPI_DLYB_Cfg_Struct.Units = 0;
  HAL_OSPI_DLYB_Cfg_Struct.PhaseSel = 0;
  if (HAL_OSPI_DLYB_SetConfig(&hospi1, &HAL_OSPI_DLYB_Cfg_Struct) != HAL_OK)
  {
    Error_Handler();
  }

}

static void MX_OCTOSPI2_Init(void)
{

  OSPIM_CfgTypeDef sOspiManagerCfg = {0};
  HAL_OSPI_DLYB_CfgTypeDef HAL_OSPI_DLYB_Cfg_Struct = {0};

  /* OCTOSPI2 parameter configuration*/
  hospi2.Instance = OCTOSPI2;
  hospi2.Init.FifoThreshold = 4;
  hospi2.Init.DualQuad = HAL_OSPI_DUALQUAD_DISABLE;
  hospi2.Init.MemoryType = HAL_OSPI_MEMTYPE_MACRONIX;
  hospi2.Init.DeviceSize = 26;
  hospi2.Init.ChipSelectHighTime = 2;
  hospi2.Init.FreeRunningClock = HAL_OSPI_FREERUNCLK_DISABLE;
  hospi2.Init.ClockMode = HAL_OSPI_CLOCK_MODE_0;
  hospi2.Init.WrapSize = HAL_OSPI_WRAP_NOT_SUPPORTED;
  hospi2.Init.ClockPrescaler = 4;
  hospi2.Init.SampleShifting = HAL_OSPI_SAMPLE_SHIFTING_NONE;
  hospi2.Init.DelayHoldQuarterCycle = HAL_OSPI_DHQC_ENABLE;
  hospi2.Init.ChipSelectBoundary = 0;
  hospi2.Init.DelayBlockBypass = HAL_OSPI_DELAY_BLOCK_USED;
  hospi2.Init.MaxTran = 0;
  hospi2.Init.Refresh = 0;
  if (HAL_OSPI_Init(&hospi2) != HAL_OK)
  {
    Error_Handler();
  }
  sOspiManagerCfg.ClkPort = 2;
  sOspiManagerCfg.DQSPort = 2;
  sOspiManagerCfg.NCSPort = 2;
  sOspiManagerCfg.IOLowPort = HAL_OSPIM_IOPORT_2_LOW;
  sOspiManagerCfg.IOHighPort = HAL_OSPIM_IOPORT_2_HIGH;
  if (HAL_OSPIM_Config(&hospi2, &sOspiManagerCfg, HAL_OSPI_TIMEOUT_DEFAULT_VALUE) != HAL_OK)
  {
    Error_Handler();
  }
  HAL_OSPI_DLYB_Cfg_Struct.Units = 0;
  HAL_OSPI_DLYB_Cfg_Struct.PhaseSel = 0;
  if (HAL_OSPI_DLYB_SetConfig(&hospi2, &HAL_OSPI_DLYB_Cfg_Struct) != HAL_OK)
  {
    Error_Handler();
  }

}

static void MX_SPI2_Init(void)
{

  SPI_AutonomousModeConfTypeDef HAL_SPI_AutonomousMode_Cfg_Struct = {0};

  /* SPI2 parameter configuration*/
  hspi2.Instance = SPI2;
  hspi2.Init.Mode = SPI_MODE_MASTER;
  hspi2.Init.Direction = SPI_DIRECTION_2LINES;
  hspi2.Init.DataSize = SPI_DATASIZE_4BIT;
  hspi2.Init.CLKPolarity = SPI_POLARITY_LOW;
  hspi2.Init.CLKPhase = SPI_PHASE_1EDGE;
  hspi2.Init.NSS = SPI_NSS_HARD_OUTPUT;
  hspi2.Init.BaudRatePrescaler = SPI_BAUDRATEPRESCALER_2;
  hspi2.Init.FirstBit = SPI_FIRSTBIT_MSB;
  hspi2.Init.TIMode = SPI_TIMODE_DISABLE;
  hspi2.Init.CRCCalculation = SPI_CRCCALCULATION_DISABLE;
  hspi2.Init.CRCPolynomial = 0x7;
  hspi2.Init.NSSPMode = SPI_NSS_PULSE_ENABLE;
  hspi2.Init.NSSPolarity = SPI_NSS_POLARITY_LOW;
  hspi2.Init.FifoThreshold = SPI_FIFO_THRESHOLD_01DATA;
  hspi2.Init.MasterSSIdleness = SPI_MASTER_SS_IDLENESS_00CYCLE;
  hspi2.Init.MasterInterDataIdleness = SPI_MASTER_INTERDATA_IDLENESS_00CYCLE;
  hspi2.Init.MasterReceiverAutoSusp = SPI_MASTER_RX_AUTOSUSP_DISABLE;
  hspi2.Init.MasterKeepIOState = SPI_MASTER_KEEP_IO_STATE_DISABLE;
  hspi2.Init.IOSwap = SPI_IO_SWAP_DISABLE;
  hspi2.Init.ReadyMasterManagement = SPI_RDY_MASTER_MANAGEMENT_INTERNALLY;
  hspi2.Init.ReadyPolarity = SPI_RDY_POLARITY_HIGH;
  if (HAL_SPI_Init(&hspi2) != HAL_OK)
  {
    Error_Handler();
  }
  HAL_SPI_AutonomousMode_Cfg_Struct.TriggerState = SPI_AUTO_MODE_DISABLE;
  HAL_SPI_AutonomousMode_Cfg_Struct.TriggerSelection = SPI_GRP1_GPDMA_CH0_TCF_TRG;
  HAL_SPI_AutonomousMode_Cfg_Struct.TriggerPolarity = SPI_TRIG_POLARITY_RISING;
  if (HAL_SPIEx_SetConfigAutonomousMode(&hspi2, &HAL_SPI_AutonomousMode_Cfg_Struct) != HAL_OK)
  {
    Error_Handler();
  }

}

static void MX_UART4_Init(void)
{

  huart4.Instance = UART4;
  huart4.Init.BaudRate = 115200;
  huart4.Init.WordLength = UART_WORDLENGTH_8B;
  huart4.Init.StopBits = UART_STOPBITS_1;
  huart4.Init.Parity = UART_PARITY_NONE;
  huart4.Init.Mode = UART_MODE_TX_RX;
  huart4.Init.HwFlowCtl = UART_HWCONTROL_NONE;
  huart4.Init.OverSampling = UART_OVERSAMPLING_16;
  huart4.Init.OneBitSampling = UART_ONE_BIT_SAMPLE_DISABLE;
  huart4.Init.ClockPrescaler = UART_PRESCALER_DIV1;
  huart4.AdvancedInit.AdvFeatureInit = UART_ADVFEATURE_NO_INIT;
  if (HAL_UART_Init(&huart4) != HAL_OK)
  {
    Error_Handler();
  }
  if (HAL_UARTEx_SetTxFifoThreshold(&huart4, UART_TXFIFO_THRESHOLD_1_8) != HAL_OK)
  {
    Error_Handler();
  }
  if (HAL_UARTEx_SetRxFifoThreshold(&huart4, UART_RXFIFO_THRESHOLD_1_8) != HAL_OK)
  {
    Error_Handler();
  }
  if (HAL_UARTEx_DisableFifoMode(&huart4) != HAL_OK)
  {
    Error_Handler();
  }

}

static void MX_USART1_UART_Init(void)
{

  huart1.Instance = USART1;
  huart1.Init.BaudRate = 115200;
  huart1.Init.WordLength = UART_WORDLENGTH_8B;
  huart1.Init.StopBits = UART_STOPBITS_1;
  huart1.Init.Parity = UART_PARITY_NONE;
  huart1.Init.Mode = UART_MODE_TX_RX;
  huart1.Init.HwFlowCtl = UART_HWCONTROL_NONE;
  huart1.Init.OverSampling = UART_OVERSAMPLING_16;
  huart1.Init.OneBitSampling = UART_ONE_BIT_SAMPLE_DISABLE;
  huart1.Init.ClockPrescaler = UART_PRESCALER_DIV1;
  huart1.AdvancedInit.AdvFeatureInit = UART_ADVFEATURE_NO_INIT;
  if (HAL_UART_Init(&huart1) != HAL_OK)
  {
    Error_Handler();
  }
  if (HAL_UARTEx_SetTxFifoThreshold(&huart1, UART_TXFIFO_THRESHOLD_1_8) != HAL_OK)
  {
    Error_Handler();
  }
  if (HAL_UARTEx_SetRxFifoThreshold(&huart1, UART_RXFIFO_THRESHOLD_1_8) != HAL_OK)
  {
    Error_Handler();
  }
  if (HAL_UARTEx_DisableFifoMode(&huart1) != HAL_OK)
  {
    Error_Handler();
  }
  /* USER CODE BEGIN USART1_Init 2 */
  HAL_NVIC_SetPriority(USART1_IRQn, 5, 0);
  HAL_NVIC_EnableIRQ(USART1_IRQn);

  /* USER CODE END USART1_Init 2 */

}

static void MX_UCPD1_Init(void)
{

  LL_GPIO_InitTypeDef GPIO_InitStruct = {0};

  /* Peripheral clock enable */
  LL_APB1_GRP2_EnableClock(LL_APB1_GRP2_PERIPH_UCPD1);

  LL_AHB2_GRP1_EnableClock(LL_AHB2_GRP1_PERIPH_GPIOA);
  LL_AHB2_GRP1_EnableClock(LL_AHB2_GRP1_PERIPH_GPIOB);
  /**UCPD1 GPIO Configuration
  PA15 (JTDI)   ------> UCPD1_CC1
  PB15   ------> UCPD1_CC2
  */
  GPIO_InitStruct.Pin = LL_GPIO_PIN_15;
  GPIO_InitStruct.Mode = LL_GPIO_MODE_ANALOG;
  GPIO_InitStruct.Pull = LL_GPIO_PULL_NO;
  LL_GPIO_Init(GPIOA, &GPIO_InitStruct);

  GPIO_InitStruct.Pin = LL_GPIO_PIN_15;
  GPIO_InitStruct.Mode = LL_GPIO_MODE_ANALOG;
  GPIO_InitStruct.Pull = LL_GPIO_PULL_NO;
  LL_GPIO_Init(GPIOB, &GPIO_InitStruct);

}

static void MX_USB_OTG_FS_PCD_Init(void)
{

  hpcd_USB_OTG_FS.Instance = USB_OTG_FS;
  hpcd_USB_OTG_FS.Init.dev_endpoints = 6;
  hpcd_USB_OTG_FS.Init.speed = PCD_SPEED_FULL;
  hpcd_USB_OTG_FS.Init.phy_itface = PCD_PHY_EMBEDDED;
  hpcd_USB_OTG_FS.Init.Sof_enable = DISABLE;
  hpcd_USB_OTG_FS.Init.low_power_enable = DISABLE;
  hpcd_USB_OTG_FS.Init.lpm_enable = DISABLE;
  hpcd_USB_OTG_FS.Init.battery_charging_enable = DISABLE;
  hpcd_USB_OTG_FS.Init.use_dedicated_ep1 = DISABLE;
  hpcd_USB_OTG_FS.Init.vbus_sensing_enable = DISABLE;
  hpcd_USB_OTG_FS.Init.dma_enable = DISABLE;
  if (HAL_PCD_Init(&hpcd_USB_OTG_FS) != HAL_OK)
  {
    Error_Handler();
  }

}

static void MX_GPIO_Init(void)
{
  GPIO_InitTypeDef GPIO_InitStruct = {0};

  /* GPIO Ports Clock Enable */
  __HAL_RCC_GPIOG_CLK_ENABLE();
  __HAL_RCC_GPIOC_CLK_ENABLE();
  __HAL_RCC_GPIOA_CLK_ENABLE();
  __HAL_RCC_GPIOI_CLK_ENABLE();
  __HAL_RCC_GPIOH_CLK_ENABLE();
  __HAL_RCC_GPIOB_CLK_ENABLE();
  __HAL_RCC_GPIOD_CLK_ENABLE();
  __HAL_RCC_GPIOE_CLK_ENABLE();
  __HAL_RCC_GPIOF_CLK_ENABLE();

  /*Configure GPIO pin Output Level */
  HAL_GPIO_WritePin(UCPD_PWR_GPIO_Port, UCPD_PWR_Pin, GPIO_PIN_RESET);

  /*Configure GPIO pin Output Level */
  HAL_GPIO_WritePin(GPIOH, LED_RED_Pin|LED_GREEN_Pin|Mems_VL53_xshut_Pin, GPIO_PIN_RESET);

  /*Configure GPIO pin Output Level */
  HAL_GPIO_WritePin(WRLS_WKUP_B_GPIO_Port, WRLS_WKUP_B_Pin, GPIO_PIN_RESET);

  /*Configure GPIO pin Output Level */
  HAL_GPIO_WritePin(GPIOF, Mems_STSAFE_RESET_Pin|WRLS_WKUP_W_Pin, GPIO_PIN_RESET);

  /*Configure GPIO pins : WRLS_FLOW_Pin Mems_VLX_GPIO_Pin Mems_INT_LPS22HH_Pin */
  GPIO_InitStruct.Pin = WRLS_FLOW_Pin|Mems_VLX_GPIO_Pin|Mems_INT_LPS22HH_Pin;
  GPIO_InitStruct.Mode = GPIO_MODE_INPUT;
  GPIO_InitStruct.Pull = GPIO_NOPULL;
  HAL_GPIO_Init(GPIOG, &GPIO_InitStruct);

  /*Configure GPIO pin : PH3_BOOT0_Pin */
  GPIO_InitStruct.Pin = PH3_BOOT0_Pin;
  GPIO_InitStruct.Mode = GPIO_MODE_INPUT;
  GPIO_InitStruct.Pull = GPIO_NOPULL;
  HAL_GPIO_Init(PH3_BOOT0_GPIO_Port, &GPIO_InitStruct);

  /*Configure GPIO pin : UCPD_PWR_Pin */
  GPIO_InitStruct.Pin = UCPD_PWR_Pin;
  GPIO_InitStruct.Mode = GPIO_MODE_OUTPUT_PP;
  GPIO_InitStruct.Pull = GPIO_NOPULL;
  GPIO_InitStruct.Speed = GPIO_SPEED_FREQ_LOW;
  HAL_GPIO_Init(UCPD_PWR_GPIO_Port, &GPIO_InitStruct);

  /*Configure GPIO pin : USER_Button_Pin */
  GPIO_InitStruct.Pin = USER_Button_Pin;
  GPIO_InitStruct.Mode = GPIO_MODE_INPUT;
  GPIO_InitStruct.Pull = GPIO_NOPULL;
  HAL_GPIO_Init(USER_Button_GPIO_Port, &GPIO_InitStruct);

  /*Configure GPIO pins : LED_RED_Pin LED_GREEN_Pin Mems_VL53_xshut_Pin */
  GPIO_InitStruct.Pin = LED_RED_Pin|LED_GREEN_Pin|Mems_VL53_xshut_Pin;
  GPIO_InitStruct.Mode = GPIO_MODE_OUTPUT_PP;
  GPIO_InitStruct.Pull = GPIO_NOPULL;
  GPIO_InitStruct.Speed = GPIO_SPEED_FREQ_LOW;
  HAL_GPIO_Init(GPIOH, &GPIO_InitStruct);

  /*Configure GPIO pin : MIC_CCK1_Pin */
  GPIO_InitStruct.Pin = MIC_CCK1_Pin;
  GPIO_InitStruct.Mode = GPIO_MODE_AF_PP;
  GPIO_InitStruct.Pull = GPIO_NOPULL;
  GPIO_InitStruct.Speed = GPIO_SPEED_FREQ_LOW;
  GPIO_InitStruct.Alternate = GPIO_AF6_MDF1;
  HAL_GPIO_Init(MIC_CCK1_GPIO_Port, &GPIO_InitStruct);

  /*Configure GPIO pin : WRLS_WKUP_B_Pin */
  GPIO_InitStruct.Pin = WRLS_WKUP_B_Pin;
  GPIO_InitStruct.Mode = GPIO_MODE_OUTPUT_PP;
  GPIO_InitStruct.Pull = GPIO_NOPULL;
  GPIO_InitStruct.Speed = GPIO_SPEED_FREQ_LOW;
  HAL_GPIO_Init(WRLS_WKUP_B_GPIO_Port, &GPIO_InitStruct);

  /*Configure GPIO pins : WRLS_NOTIFY_Pin Mems_INT_IIS2MDC_Pin USB_IANA_Pin */
  GPIO_InitStruct.Pin = WRLS_NOTIFY_Pin|Mems_INT_IIS2MDC_Pin|USB_IANA_Pin;
  GPIO_InitStruct.Mode = GPIO_MODE_INPUT;
  GPIO_InitStruct.Pull = GPIO_NOPULL;
  HAL_GPIO_Init(GPIOD, &GPIO_InitStruct);

  /*Configure GPIO pins : USB_UCPD_FLT_Pin Mems_ISM330DLC_INT1_Pin */
  GPIO_InitStruct.Pin = USB_UCPD_FLT_Pin|Mems_ISM330DLC_INT1_Pin;
  GPIO_InitStruct.Mode = GPIO_MODE_INPUT;
  GPIO_InitStruct.Pull = GPIO_NOPULL;
  HAL_GPIO_Init(GPIOE, &GPIO_InitStruct);

  /*Configure GPIO pin : USB_VBUS_SENSE_Pin */
  GPIO_InitStruct.Pin = USB_VBUS_SENSE_Pin;
  GPIO_InitStruct.Mode = GPIO_MODE_INPUT;
  GPIO_InitStruct.Pull = GPIO_NOPULL;
  HAL_GPIO_Init(USB_VBUS_SENSE_GPIO_Port, &GPIO_InitStruct);

  /*Configure GPIO pins : Mems_STSAFE_RESET_Pin WRLS_WKUP_W_Pin */
  GPIO_InitStruct.Pin = Mems_STSAFE_RESET_Pin|WRLS_WKUP_W_Pin;
  GPIO_InitStruct.Mode = GPIO_MODE_OUTPUT_PP;
  GPIO_InitStruct.Pull = GPIO_NOPULL;
  GPIO_InitStruct.Speed = GPIO_SPEED_FREQ_LOW;
  HAL_GPIO_Init(GPIOF, &GPIO_InitStruct);

  /*Configure GPIO pin : MIC_SDIN0_Pin */
  GPIO_InitStruct.Pin = MIC_SDIN0_Pin;
  GPIO_InitStruct.Mode = GPIO_MODE_AF_PP;
  GPIO_InitStruct.Pull = GPIO_NOPULL;
  GPIO_InitStruct.Speed = GPIO_SPEED_FREQ_LOW;
  GPIO_InitStruct.Alternate = GPIO_AF6_MDF1;
  HAL_GPIO_Init(MIC_SDIN0_GPIO_Port, &GPIO_InitStruct);

}

/* USER CODE BEGIN 4 */
static int32_t platform_write(
    void *handle,
    uint8_t reg,
    uint8_t *buf,
    uint16_t len
)
{
    return (HAL_I2C_Mem_Write(
        (I2C_HandleTypeDef *)handle,
        ISM330DHCX_ADDR,
        reg,
        I2C_MEMADD_SIZE_8BIT,
        buf,
        len,
        HAL_MAX_DELAY) == HAL_OK) ? 0 : -1;
}

// Anropas av drivrutinen för att läsa från sensorn
static int32_t platform_read(
    void *handle,
    uint8_t reg,
    uint8_t *bufp,
    uint16_t len
)
{
    return (HAL_I2C_Mem_Read(
        (I2C_HandleTypeDef *)handle,
        ISM330DHCX_ADDR,
        reg,
        I2C_MEMADD_SIZE_8BIT,
        bufp,
        len,
        HAL_MAX_DELAY) == HAL_OK) ? 0 : -1;
}

void HAL_UART_RxCpltCallback(UART_HandleTypeDef *huart)
{

	if (huart->Instance != USART1)
	  {
		return;
	  }

/*    if (uart_tx_busy) {
        HAL_UART_Receive_IT(&huart1, &uart_rx_char, 1);
        return;
    }*/

	  char c = uart_rx_char;

	  // Ignore CR
	  if (c == '\r')
	  {

	    HAL_UART_Receive_IT(&huart1, &uart_rx_char, 1);
		return;
	  }

	  // End of command
	  if (c == '\n')
	  {
	    uart_rx_buf[uart_rx_idx] = '\0';

	     //SKICKA VIDARE – INGEN LOGG HÄR
	    //printf("RX buf: %s\r\n", uart_rx_buf);
	    HandleUartCommand(uart_rx_buf);
	    // RESET BUFFER
		uart_rx_idx = 0;
		memset(uart_rx_buf, 0, sizeof(uart_rx_buf));
	  }
	  else
	  {
	    if (uart_rx_idx < sizeof(uart_rx_buf) - 1)
	    {
	      uart_rx_buf[uart_rx_idx++] = c;
	    }
	    else
	    {
	      // overflow protection
	      memset(uart_rx_buf, 0, sizeof(uart_rx_buf));
	      uart_rx_idx = 0;
	    }
	  }

	  // ALWAYS restart RX
	  HAL_UART_Receive_IT(&huart1, &uart_rx_char, 1);
}

void HandleUartCommand(const char *cmd)
{
	//printf("Receive command\r\n");
  if (strcmp(cmd, "START") == 0)
  {
	ResetInferenceState();
	logging_enabled = 1;
	//ai_output_enabled = 1;

    //ISM330DHCX_StartSampling();
    //printf("OK START\r\n");
  }
  else if (strcmp(cmd, "STOP") == 0)
  {
	    //ai_output_enabled = 0;

	    // Vänta tills UART är HELT klar
/*	    while (__HAL_UART_GET_FLAG(&huart1, UART_FLAG_TC) == RESET)
	    {
	        // vänta
	    }*/

	    logging_enabled = 0;

	  //ISM330DHCX_StopSampling();
    //printf("OK STOP\r\n");
  }
  else if (strncmp(cmd, "LABEL:", 6) == 0)
  {
      const char *label = cmd + 6;   // pekar på texten efter "LABEL:"

      if (strlen(label) > 0 && strlen(label) < sizeof(current_label))
      {
          strcpy(current_label, label);
          //printf("LABEL SET TO: %s\r\n", current_label);
      }
  }
}

static void ResetInferenceState(void)
{
    sample_idx = 0;

    memset(ax_raw_buf, 0, sizeof(ax_raw_buf));
    memset(ay_raw_buf, 0, sizeof(ay_raw_buf));
    memset(az_raw_buf, 0, sizeof(az_raw_buf));

    memset(ax_mg_buf, 0, sizeof(ax_mg_buf));
    memset(ay_mg_buf, 0, sizeof(ay_mg_buf));
    memset(az_mg_buf, 0, sizeof(az_mg_buf));

    memset(cnn_input, 0, sizeof(cnn_input));

    memset(pred_hist, 0, sizeof(pred_hist));
    pred_idx = 0;

    //MX_X_CUBE_AI_DeInit();
    MX_X_CUBE_AI_Init();
}

void convert_to_mg(void) {
    const float LSB_PER_G = 32768.0f / 4.0f;
    for (int i = 0; i < CNN_TIMESTEPS; i++) {
        ax_mg_buf[i] = ((float)ax_raw_buf[i] / LSB_PER_G) * 1000.0f;
        ay_mg_buf[i] = ((float)ay_raw_buf[i] / LSB_PER_G) * 1000.0f;
        az_mg_buf[i] = ((float)az_raw_buf[i] / LSB_PER_G) * 1000.0f;
    }
}

int smooth_prediction(int pred)
{
    pred_hist[pred_idx++] = pred;
    if (pred_idx >= SMOOTH_N) pred_idx = 0;

    int count[3] = {0};
    for (int i = 0; i < SMOOTH_N; i++) {
        count[pred_hist[i]]++;
    }

    int best = 0;
    for (int i = 1; i < 3; i++) {
        if (count[i] > count[best]) best = i;
    }
    return best;
}
/* USER CODE END 4 */

void Error_Handler(void)
{
  __disable_irq();
  while (1)
  {
  }
}
